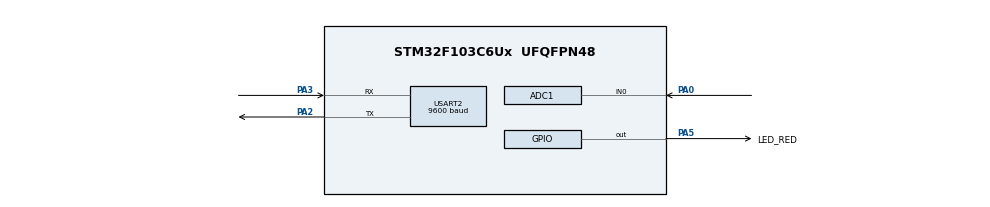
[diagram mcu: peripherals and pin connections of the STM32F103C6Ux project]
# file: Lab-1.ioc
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ADC1.Channel-0\#ChannelRegularConversion=ADC_CHANNEL_0
ADC1.ContinuousConvMode=ENABLE
ADC1.NbrOfConversionFlag=1
ADC1.Rank-0\#ChannelRegularConversion=1
ADC1.SamplingTime-0\#ChannelRegularConversion=ADC_SAMPLETIME_1CYCLE_5
ADC1.master=1
Mcu.Family=STM32F1
Mcu.Name=STM32F103C6Ux
Mcu.Package=UFQFPN48
NVIC.PriorityGroup=NVIC_PRIORITYGROUP_4
NVIC.TIM2_IRQn=true\:0\:0\:false\:false\:true\:true\:true
NVIC.USART2_IRQn=true\:0\:0\:false\:false\:true\:true\:true
PA0-WKUP.Signal=ADCx_IN0
PA2.Mode=Asynchronous
PA2.Signal=USART2_TX
PA3.Mode=Asynchronous
PA3.Signal=USART2_RX
PA5.GPIO_Label=LED_RED
PA5.Signal=GPIO_Output
PA6.Signal=S_TIM3_CH1
ProjectManager.HeapSize=0x200
ProjectManager.StackSize=0x400
ProjectManager.TargetToolchain=STM32CubeIDE
RCC.APB1Freq_Value=8000000
RCC.APB2Freq_Value=8000000
SH.ADCx_IN0.0=ADC1_IN0,IN0
SH.S_TIM3_CH1.0=TIM3_CH1
TIM2.Period=9
TIM2.Prescaler=7999
USART2.BaudRate=9600
USART2.VirtualMode=VM_ASYNC
VP_SYS_VS_ND.Mode=No_Debug
VP_TIM2_VS_ClockSourceINT.Mode=Internal
board=custom

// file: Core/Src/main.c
/* USER CODE BEGIN Header */
/**
  ******************************************************************************
  * @file           : main.c
  * @brief          : Main program body
  ******************************************************************************
  * @attention
  *
  * <h2><center>&copy; Copyright (c) 2022 STMicroelectronics.
  * All rights reserved.</center></h2>
  *
  * This software component is licensed by ST under BSD 3-Clause license,
  * the "License"; You may not use this file except in compliance with the
  * License. You may obtain a copy of the License at:
  *                        opensource.org/licenses/BSD-3-Clause
  *
  ******************************************************************************
  */
/* USER CODE END Header */
#include "main.h"

/* USER CODE BEGIN Includes */
#include "command.h"
#include "uart.h"
#include "timer.h"
/* USER CODE END Includes */

ADC_HandleTypeDef hadc1;

TIM_HandleTypeDef htim2;

UART_HandleTypeDef huart2;

void SystemClock_Config(void);
static void MX_GPIO_Init(void);
static void MX_ADC1_Init(void);
static void MX_USART2_UART_Init(void);
static void MX_TIM2_Init(void);

/* USER CODE BEGIN 0 */
//uint8_t temp = 0;
//
//void HAL_UART_RxCpltCallback ( UART_HandleTypeDef * huart ){
//    if(huart -> Instance == USART2 ){
//       HAL_UART_Transmit (& huart2 , &temp , 1, 50) ;
//       HAL_UART_Receive_IT (& huart2 , &temp , 1);
//    }
//}
/* USER CODE END 0 */

int main(void)
{

  /* MCU Configuration--------------------------------------------------------*/

  /* Reset of all peripherals, Initializes the Flash interface and the Systick. */
  HAL_Init();

  /* Configure the system clock */
  SystemClock_Config();

  /* Initialize all configured peripherals */
  MX_GPIO_Init();
  MX_ADC1_Init();
  MX_USART2_UART_Init();
  MX_TIM2_Init();
  /* USER CODE BEGIN 2 */
   HAL_ADC_Start(&hadc1);
   HAL_TIM_Base_Start_IT(&htim2);
  /* USER CODE END 2 */

  /* Infinite loop */
  /* USER CODE BEGIN WHILE */
  HAL_UART_Receive_IT(&huart2,&temp,1);
  setTimer(0, 1000);
  while(1)
  {
	 if(buffer_flag == 1) {
	 	  command_parser_fsm();
	 	  buffer_flag = 0;
	  }
	 uart_communication_fsm();
	 if(timer_flag[0]){
	 	HAL_GPIO_TogglePin(LED_RED_GPIO_Port, LED_RED_Pin);
	    setTimer(0, 1000);
	 }
    /* USER CODE END WHILE */

  }
}

void SystemClock_Config(void)
{
  RCC_OscInitTypeDef RCC_OscInitStruct = {0};
  RCC_ClkInitTypeDef RCC_ClkInitStruct = {0};
  RCC_PeriphCLKInitTypeDef PeriphClkInit = {0};

  /** Initializes the RCC Oscillators according to the specified parameters
  * in the RCC_OscInitTypeDef structure.
  */
  RCC_OscInitStruct.OscillatorType = RCC_OSCILLATORTYPE_HSI;
  RCC_OscInitStruct.HSIState = RCC_HSI_ON;
  RCC_OscInitStruct.HSICalibrationValue = RCC_HSICALIBRATION_DEFAULT;
  RCC_OscInitStruct.PLL.PLLState = RCC_PLL_NONE;
  if (HAL_RCC_OscConfig(&RCC_OscInitStruct) != HAL_OK)
  {
    Error_Handler();
  }
  /** Initializes the CPU, AHB and APB buses clocks
  */
  RCC_ClkInitStruct.ClockType = RCC_CLOCKTYPE_HCLK|RCC_CLOCKTYPE_SYSCLK
                              |RCC_CLOCKTYPE_PCLK1|RCC_CLOCKTYPE_PCLK2;
  RCC_ClkInitStruct.SYSCLKSource = RCC_SYSCLKSOURCE_HSI;
  RCC_ClkInitStruct.AHBCLKDivider = RCC_SYSCLK_DIV1;
  RCC_ClkInitStruct.APB1CLKDivider = RCC_HCLK_DIV1;
  RCC_ClkInitStruct.APB2CLKDivider = RCC_HCLK_DIV1;

  if (HAL_RCC_ClockConfig(&RCC_ClkInitStruct, FLASH_LATENCY_0) != HAL_OK)
  {
    Error_Handler();
  }
  PeriphClkInit.PeriphClockSelection = RCC_PERIPHCLK_ADC;
  PeriphClkInit.AdcClockSelection = RCC_ADCPCLK2_DIV2;
  if (HAL_RCCEx_PeriphCLKConfig(&PeriphClkInit) != HAL_OK)
  {
    Error_Handler();
  }
}

static void MX_ADC1_Init(void)
{

  ADC_ChannelConfTypeDef sConfig = {0};

  /** Common config
  */
  hadc1.Instance = ADC1;
  hadc1.Init.ScanConvMode = ADC_SCAN_DISABLE;
  hadc1.Init.ContinuousConvMode = ENABLE;
  hadc1.Init.DiscontinuousConvMode = DISABLE;
  hadc1.Init.ExternalTrigConv = ADC_SOFTWARE_START;
  hadc1.Init.DataAlign = ADC_DATAALIGN_RIGHT;
  hadc1.Init.NbrOfConversion = 1;
  if (HAL_ADC_Init(&hadc1) != HAL_OK)
  {
    Error_Handler();
  }
  /** Configure Regular Channel
  */
  sConfig.Channel = ADC_CHANNEL_0;
  sConfig.Rank = ADC_REGULAR_RANK_1;
  sConfig.SamplingTime = ADC_SAMPLETIME_1CYCLE_5;
  if (HAL_ADC_ConfigChannel(&hadc1, &sConfig) != HAL_OK)
  {
    Error_Handler();
  }

}

static void MX_TIM2_Init(void)
{

  TIM_ClockConfigTypeDef sClockSourceConfig = {0};
  TIM_MasterConfigTypeDef sMasterConfig = {0};

  htim2.Instance = TIM2;
  htim2.Init.Prescaler = 7999;
  htim2.Init.CounterMode = TIM_COUNTERMODE_UP;
  htim2.Init.Period = 9;
  htim2.Init.ClockDivision = TIM_CLOCKDIVISION_DIV1;
  htim2.Init.AutoReloadPreload = TIM_AUTORELOAD_PRELOAD_DISABLE;
  if (HAL_TIM_Base_Init(&htim2) != HAL_OK)
  {
    Error_Handler();
  }
  sClockSourceConfig.ClockSource = TIM_CLOCKSOURCE_INTERNAL;
  if (HAL_TIM_ConfigClockSource(&htim2, &sClockSourceConfig) != HAL_OK)
  {
    Error_Handler();
  }
  sMasterConfig.MasterOutputTrigger = TIM_TRGO_RESET;
  sMasterConfig.MasterSlaveMode = TIM_MASTERSLAVEMODE_DISABLE;
  if (HAL_TIMEx_MasterConfigSynchronization(&htim2, &sMasterConfig) != HAL_OK)
  {
    Error_Handler();
  }

}

static void MX_USART2_UART_Init(void)
{

  huart2.Instance = USART2;
  huart2.Init.BaudRate = 9600;
  huart2.Init.WordLength = UART_WORDLENGTH_8B;
  huart2.Init.StopBits = UART_STOPBITS_1;
  huart2.Init.Parity = UART_PARITY_NONE;
  huart2.Init.Mode = UART_MODE_TX_RX;
  huart2.Init.HwFlowCtl = UART_HWCONTROL_NONE;
  huart2.Init.OverSampling = UART_OVERSAMPLING_16;
  if (HAL_UART_Init(&huart2) != HAL_OK)
  {
    Error_Handler();
  }

}

static void MX_GPIO_Init(void)
{
  GPIO_InitTypeDef GPIO_InitStruct = {0};

  /* GPIO Ports Clock Enable */
  __HAL_RCC_GPIOA_CLK_ENABLE();

  /*Configure GPIO pin Output Level */
  HAL_GPIO_WritePin(LED_RED_GPIO_Port, LED_RED_Pin, GPIO_PIN_RESET);

  /*Configure GPIO pin : LED_RED_Pin */
  GPIO_InitStruct.Pin = LED_RED_Pin;
  GPIO_InitStruct.Mode = GPIO_MODE_OUTPUT_PP;
  GPIO_InitStruct.Pull = GPIO_NOPULL;
  GPIO_InitStruct.Speed = GPIO_SPEED_FREQ_LOW;
  HAL_GPIO_Init(LED_RED_GPIO_Port, &GPIO_InitStruct);

  /*Configure GPIO pin : PA6 */
  GPIO_InitStruct.Pin = GPIO_PIN_6;
  GPIO_InitStruct.Mode = GPIO_MODE_AF_PP;
  GPIO_InitStruct.Speed = GPIO_SPEED_FREQ_LOW;
  HAL_GPIO_Init(GPIOA, &GPIO_InitStruct);

}

/* USER CODE BEGIN 4 */

void HAL_TIM_PeriodElapsedCallback (TIM_HandleTypeDef *htim)
{
	//SCH_Update();
	timerRun();
	//button_reading();
}

/* USER CODE END 4 */

void Error_Handler(void)
{
  __disable_irq();
  while (1)
  {
  }
}

/************************ (C) COPYRIGHT STMicroelectronics *****END OF FILE****/
